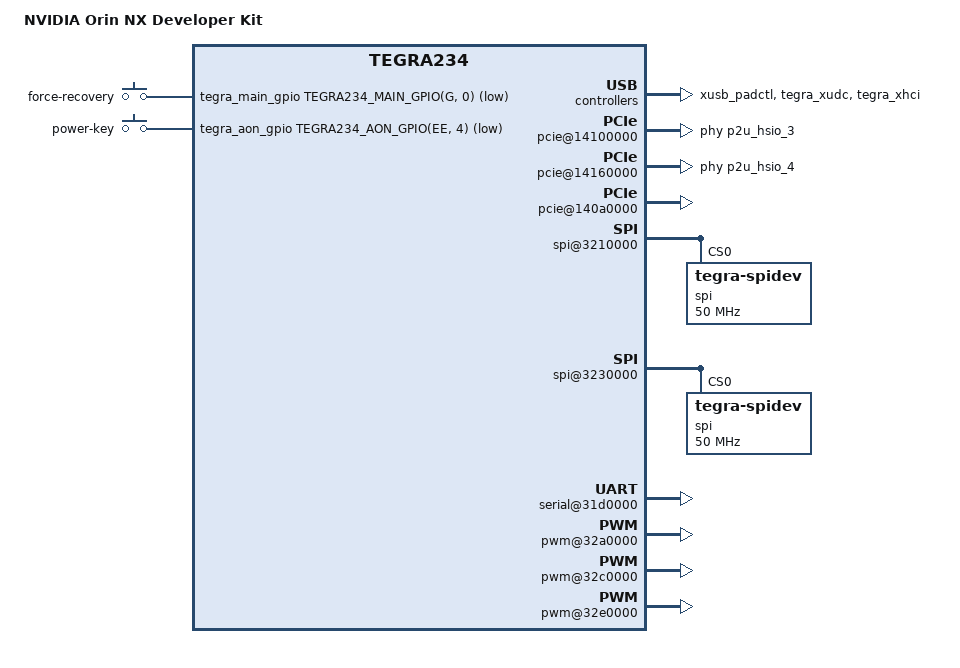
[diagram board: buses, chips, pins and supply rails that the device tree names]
/*
 * Top level DTS file for CVM:P3767-0000 and CVB:P3509-a02-0000.
 *
 * Copyright (c) 2021-2022, NVIDIA CORPORATION.  All rights reserved.
 *
 * This program is free software; you can redistribute it and/or modify
 * it under the terms of the GNU General Public License as published by
 * the Free Software Foundation; version 2 of the License.
 *
 * This program is distributed in the hope that it will be useful, but WITHOUT
 * ANY WARRANTY; without even the implied warranty of MERCHANTABILITY or
 * FITNESS FOR A PARTICULAR PURPOSE.  See the GNU General Public License for
 * more details.
 */

/dts-v1/;
#include <dt-bindings/gpio/tegra234-gpio.h>
#include "dt-bindings/input/input.h"
#include "../../tegra234-dcb-p3767-0000-hdmi.dtsi"
#include <tegra234-soc/mods-simple-bus.dtsi>
#include <t234-common-cvm/tegra234-cpuidle.dtsi>
#include "../../cvm/tegra234-p3767-0000.dtsi"

#include "../cti_common/tegra234-orin-nx-cti-thermal.dtsi"
#include "../cti_common/tegra234-orin-nx-cti-power-tree.dtsi"



/ {
	nvidia,dtbbuildtime = __DATE__, __TIME__;
	compatible = "nvidia,p3509-0000+p3767-0000", "nvidia,p3767-0000", "nvidia,tegra234", "nvidia,tegra23x";
	model = "NVIDIA Orin NX Developer Kit";
	
    aliases {
        rtc0 = &tegra_rtc;
        rtc1 = &vrs_rtc;
    };


	gpio-keys {
		compatible = "gpio-keys";
		gpio-keys,name = "gpio-keys";
		status = "okay";

		forcerecovery {
			label = "force-recovery";
			gpios = <&tegra_main_gpio TEGRA234_MAIN_GPIO(G, 0) GPIO_ACTIVE_LOW>;
			linux,code = <BTN_1>;
		};

		power_key {
			label = "power-key";
			gpios = <&tegra_aon_gpio TEGRA234_AON_GPIO(EE, 4) GPIO_ACTIVE_LOW>;
			linux,code = <KEY_POWER>;
			gpio-key,wakeup;
		};
	};

	eeprom-manager {
		data-size = <0x100>;
		bus@0 {
			i2c-bus = <&gen1_i2c>;
			eeprom@1 {
			slave-address = <0x57>;
				label = "cvb";
			};
		};

		bus@1 {
			i2c-bus = <&gen2_i2c>;
			eeprom@1 {
				slave-address = <0x50>;
				label = "super-module";
			};
		};
	};
	xusb_padctl: xusb_padctl@3520000 {
		status = "okay";
		pads {
			usb2 {
				lanes {
					usb2-0 {
						nvidia,function = "xusb";
						status = "okay";
					};
					usb2-1 {
						nvidia,function = "xusb";
						status = "okay";
					};
					usb2-2 {
						nvidia,function = "xusb";
						status = "okay";
					};
				};
			};
			usb3 {
				lanes {
					usb3-0 {
						nvidia,function = "xusb";
						status = "okay";
					};
				};
			};
		};

		ports {
			usb2-0 {
				mode = "otg";
				status = "okay";
				usb-role-switch;
				connector {
					/* NOTE: PN: While the Physical connector is Type-C we are using the 
					 * microUSB driver as the HW uses the older OTG_ID/VBUS_DET gpio
					 * for indicating role switchs
					 */
					compatible = "gpio-usb-b-connector", "usb-b-connector";
					label = "micro-USB";
					type = "micro";
					vbus-gpios = <&tegra_main_gpio TEGRA234_MAIN_GPIO(Z, 1) GPIO_ACTIVE_HIGH>;
					id-gpios = <&tegra_aon_gpio TEGRA234_AON_GPIO(EE, 2) GPIO_ACTIVE_HIGH>;				
				};
				
			};
			usb2-1 {
				mode = "host";
				status = "okay";
			};
			usb2-2 {/* Goes to M2.E */
				mode = "host";
				status = "okay";
			};
			usb3-0 {
				nvidia,usb2-companion = <0>;
				status = "okay";
			};
		};
	};

	tegra_xudc: xudc@3550000 {
		status = "okay";
		phys =	<&{/xusb_padctl@3520000/pads/usb2/lanes/usb2-0}>,
				<&{/xusb_padctl@3520000/pads/usb3/lanes/usb3-0}>;
		phy-names = "usb2-0", "usb3-0";
		nvidia,xusb-padctl = <&xusb_padctl>;
	};

	tegra_xhci: xhci@3610000 {
		status = "okay";
		phys =	<&{/xusb_padctl@3520000/pads/usb2/lanes/usb2-0}>,
				<&{/xusb_padctl@3520000/pads/usb2/lanes/usb2-1}>,
				<&{/xusb_padctl@3520000/pads/usb2/lanes/usb2-2}>,
				<&{/xusb_padctl@3520000/pads/usb3/lanes/usb3-0}>;
		phy-names = "usb2-0", "usb2-1", "usb2-2", "usb3-0";
		nvidia,xusb-padctl = <&xusb_padctl>;
	};

    pcie@14100000 {/* C1 - M.2 Key-E */
        status = "okay";
        phys = <&p2u_hsio_3>;
        phy-names = "p2u-0";
    };

    pcie@14160000 {/* C4 - M2 Key M */
        status = "okay";
        phys = <&p2u_hsio_4>, <&p2u_hsio_5>, <&p2u_hsio_6>,
               <&p2u_hsio_7>;
        phy-names = "p2u-0", "p2u-1", "p2u-2", "p2u-3";
    };

    pcie@140a0000 {/* C8 - Ethernet */
        status = "okay";

        nvidia,pex-wake-gpios = <&tegra_main_gpio TEGRA234_MAIN_GPIO(L, 2) GPIO_ACTIVE_LOW>;
    };


	spi@3210000{ /* SPI1 in 40 pin conn */
		status = "okay";
		spi@0 { /* chip select 0 */
			compatible = "tegra-spidev";
			reg = <0x0>;
			spi-max-frequency = <50000000>;
			controller-data {
				nvidia,enable-hw-based-cs;
				nvidia,rx-clk-tap-delay = <0x10>;
				nvidia,tx-clk-tap-delay = <0x0>;
			};
		};
	};

	spi@3230000{ /* SPI3 in 40 pin conn */
		status = "okay";
		spi@0 { /* chip select 0 */
			compatible = "tegra-spidev";
			reg = <0x0>;
			spi-max-frequency = <50000000>;
			controller-data {
				nvidia,enable-hw-based-cs;
				nvidia,rx-clk-tap-delay = <0x10>;
				nvidia,tx-clk-tap-delay = <0x0>;
			};
		};
	};
    //dev/ttyTHS4
	serial@3140000 {
		/* UARTE, Goes to M2.E and also some of the pins to bootstrap */
		status = "disabled";
	};
    //dev/ttyTHS3
	serial@3130000 {
		status = "disabled";
	};
	//dev/ttyTHS1
	serial@3110000 {
		status = "disabled";
	};
    //dev/ttyTHS0
	serial@3100000 {/* UARTA, for 40 pin header */
		status = "disabled";
	};

	mttcan@c310000 {
		status = "okay";
	};
	
	mttcan@c320000 { //orin-nx only has one can
		status = "disabled";
	};




	serial@31d0000 {/* UARTI - SBSA */
		status = "okay";
	};

	tachometer@39c0000 {
		status = "okay";
		upper-threshold = <0xfffff>;
		lower-threshold = <0x0>;
	};

	pwm@3280000 {/* PWM1 40pin header, pin 15 */
		status = "disabled";
	};


	pwm@32a0000 {/* PWM3 - FAN */
		status = "okay";
	};

	pwm@c340000 { /* PWM4 - OVR */
		status = "disabled";
	};

	pwm@32c0000 {/* PWM5 40 pin header, pin 33 */
		status = "okay";
	};

	pwm@32d0000 {/* PWM6 OVR */
		status = "disabled";
	};
    //PWM7
    pwm@32e0000{
        status = "okay";
    };
	
    bluedroid_pm {
		status = "disabled";
	};

	display@13800000 {
		status = "okay";
		os_gpio_hotplug_a = <&tegra_main_gpio TEGRA234_MAIN_GPIO(M, 0) GPIO_ACTIVE_HIGH>;
	};	
	
	
	

};


